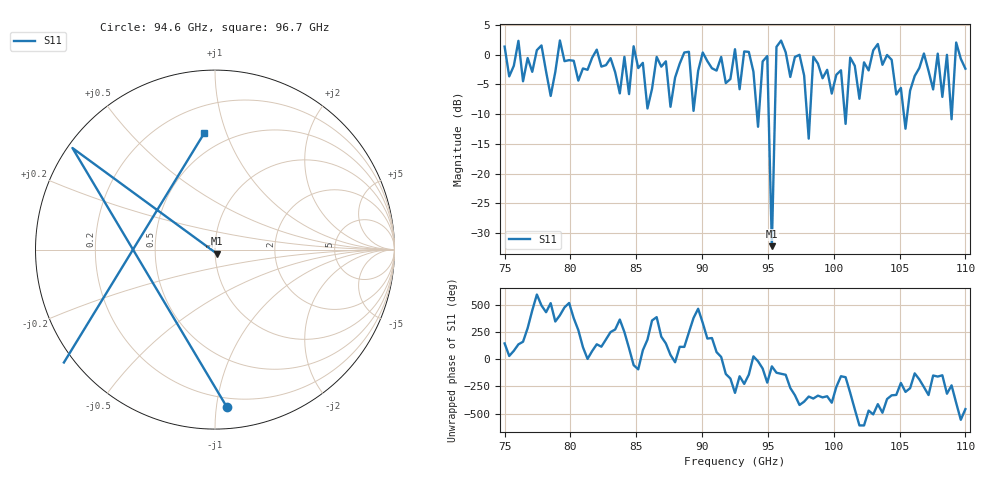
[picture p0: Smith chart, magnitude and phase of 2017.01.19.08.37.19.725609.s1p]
!Created with skrf (http://scikit-rf.org).
# GHz S RI R 50.0
!freq ReS11 ImS11
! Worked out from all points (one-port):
!   101 points, 75 GHz to 110 GHz, reference 50 ohm
!   lowest |S11| = -32.2 dB at 95.3 GHz (marker M1), VSWR 1.05, Z = 51 - j2.28 ohm
!   |S11| at or under -10 dB: 94.16983 GHz to 94.3176 GHz (147.8 MHz wide, 0.157 % of centre); 95.05694 GHz to 95.53183 GHz (474.9 MHz wide, 0.498 % of centre); 97.96446 GHz to 98.20458 GHz (240.1 MHz wide, 0.245 % of centre) (the widest 3 of 6)
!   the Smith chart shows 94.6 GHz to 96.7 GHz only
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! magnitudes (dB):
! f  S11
! 75 GHz  1.4
! 79.55 GHz  -1.1
! 83.75 GHz  -6.5
! 84.8 GHz  1.4
! 88.3 GHz  -1.5
! 89 GHz  0.5
! 89.35 GHz  -9.4
! 90.05 GHz  0.4
! 92.5 GHz  0.9
! 93.55 GHz  0.5
! 94.25 GHz  -12.1
! 94.95 GHz  -0.2
! 95.3 GHz  -32.2
! 95.65 GHz  1.3
! 97.05 GHz  -0.4
! 98.1 GHz  -14.1
! 98.45 GHz  -0.3
! 100.5 GHz  -2.6
! 100.9 GHz  -11.6
! 101.2 GHz  -0.5
! 102 GHz  -7.4
! 104.4 GHz  -0.9
! 105.5 GHz  -12.5
! 105.8 GHz  -6.0
! 108.6 GHz  0.0
! 109 GHz  -10.9
! 109.3 GHz  2.1
! 110 GHz  -2.3
